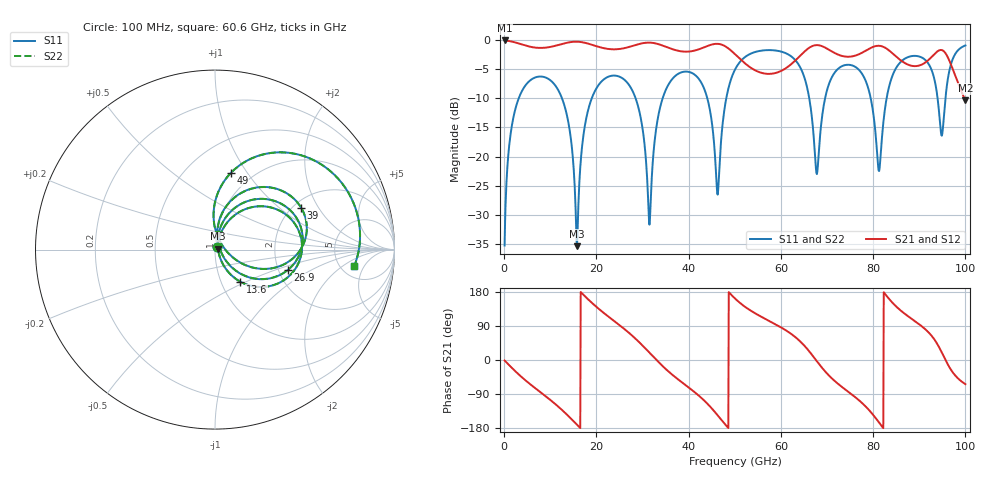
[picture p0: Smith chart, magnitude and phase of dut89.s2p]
! Touchstone file exported from HFSS 2026.1.0
!  File:  C:/ffzhzh/LocalFiles/Ansys_Project_Files/temp_train_TSV_RDL_89_1783452544_28540.aedt
!  Generated:  03:42:10 AM Jul  8, 2026
!  Design:  TSV_RDL
!  Project:  temp_train_TSV_RDL_89_1783452544_28540
! Variables:
!  h_bsmrdl = 3.9um
!  h_ox = 20um
!  h_rdl = 5um
!  h_sub = 76.53um
!  h_tmrdl = 4.18um
!  h_tsv = 76.53um
!  h_via = 3um
!  l_bsmrdl = 403.51um
!  l_sub = 3569.51um
!  l_tmrdl = 452.38um
!  m_sub = 200um
!  pitch = 57.11um
!  r_tsv = 14.6um
!  s_tmrdl = 10um
!  w_bsmrdl = 28.69um
!  w_sub = 500um
!  w_tmrdl = 21.13um
!  x_tsv_center1 = 462.945um
!  x_tsv_center2 = 895.145um
!  x_tsv_center3 = 1368.655um
!  x_tsv_center4 = 1800.855um
!  x_tsv_center5 = 2274.365um
!  x_tsv_center6 = 2706.565um
# GHz S MA R 50.000000
! Terminal data exported
! Port[1] = TM_RDL1_1_T1
! Port[2] = TM_RDL5_1_T1
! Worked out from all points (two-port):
!   1000 points, 100 MHz to 100 GHz, reference 50 ohm
!   highest |S21| = -0.11 dB at 100 MHz (marker M1); lowest = -10.4 dB at 100 GHz (marker M2)
!   |S21| within 3 dB of the highest: start of sweep to 50.92 GHz; 63.69 GHz to 85.35 GHz (21.66 GHz wide, 29.1 % of centre) (the widest 2 of 3)
!   lowest |S11| = -35.3 dB at 15.8 GHz (marker M3), VSWR 1.03, Z = 51.7 + j0.469 ohm
!   |S11| at or under -10 dB: 12.54 GHz to 19 GHz (6.461 GHz wide, 41 % of centre); 28.5 GHz to 34.37 GHz (5.868 GHz wide, 18.7 % of centre); 44.04 GHz to 48.16 GHz (4.115 GHz wide, 8.93 % of centre) (the widest 3 of 7)
!   |S22| runs from -35.5 to -1.0 dB; largest |S21 - S12| = 4.4e-13
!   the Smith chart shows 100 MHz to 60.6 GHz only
!   S11 on the Smith chart (normalised r, x): 100 MHz: 1.02, +0.02; 13.6 GHz: 1.23, -0.46; 26.9 GHz: 2.24, -0.62; 39 GHz: 2.20, +1.44; 49 GHz: 0.80, +0.84; 60.6 GHz: 6.64, -3.13
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0.1  0.01738 44.4  0.9878 -1.3  0.9878 -1.3  0.01738 44.4
! Gamma 0 0 0 0
! Port Impedance 50 0 50 0
4.1  0.3793 38.9  0.9057 -48.3  0.9057 -48.3  0.3793 38.9
13.6  0.2271 -51.8  0.9435 -144.0  0.9435 -144.0  0.2271 -51.9
15.8  0.01715 15.3  0.9636 -170.8  0.9636 -170.8  0.0168 15.3
16.8  0.1125 76.9  0.9554 176.8  0.9554 176.8  0.1124 77.1
26.9  0.4203 -15.9  0.865 73.4  0.865 73.4  0.4203 -15.8
31.5  0.02622 17.8  0.9464 19.3  0.9464 19.3  0.02726 18.0
33.4  0.2216 78.0  0.9197 -4.7  0.9197 -4.7  0.2217 77.7
39  0.5337 25.9  0.793 -63.2  0.793 -63.2  0.5337 25.8
46.3  0.04736 37.8  0.9242 -146.1  0.9242 -146.1  0.04673 37.7
49  0.4356 78.4  0.8211 175.2  0.8211 175.2  0.4355 78.4
50.1  0.561 66.8  0.7503 161.7  0.7503 161.7  0.5609 66.8
60.6  0.7811 -6.7  0.5567 82.0  0.5567 82.0  0.7811 -6.8
66.7  0.2203 -57.2  0.8807 14.3  0.8807 14.3  0.2198 -57.6
67.9  0.07451 13.9  0.9014 -4.8  0.9014 -4.8  0.07293 14.3
70.7  0.4472 39.3  0.8099 -44.4  0.8099 -44.4  0.447 39.5
76.5  0.5733 -10.0  0.7412 -101.9  0.7412 -101.9  0.5733 -9.8
81.2  0.07598 5.9  0.8898 -163.6  0.8898 -163.6  0.0783 6.2
83.4  0.3898 61.3  0.8142 162.0  0.8142 162.0  0.3903 61.0
89.8  0.7234 6.7  0.6 95.9  0.6 95.9  0.7235 6.6
95.1  0.171 39.2  0.8104 14.5  0.8104 14.5  0.1689 39.4
100  0.8952 19.9  0.303 -63.9  0.303 -63.9  0.895 19.9
